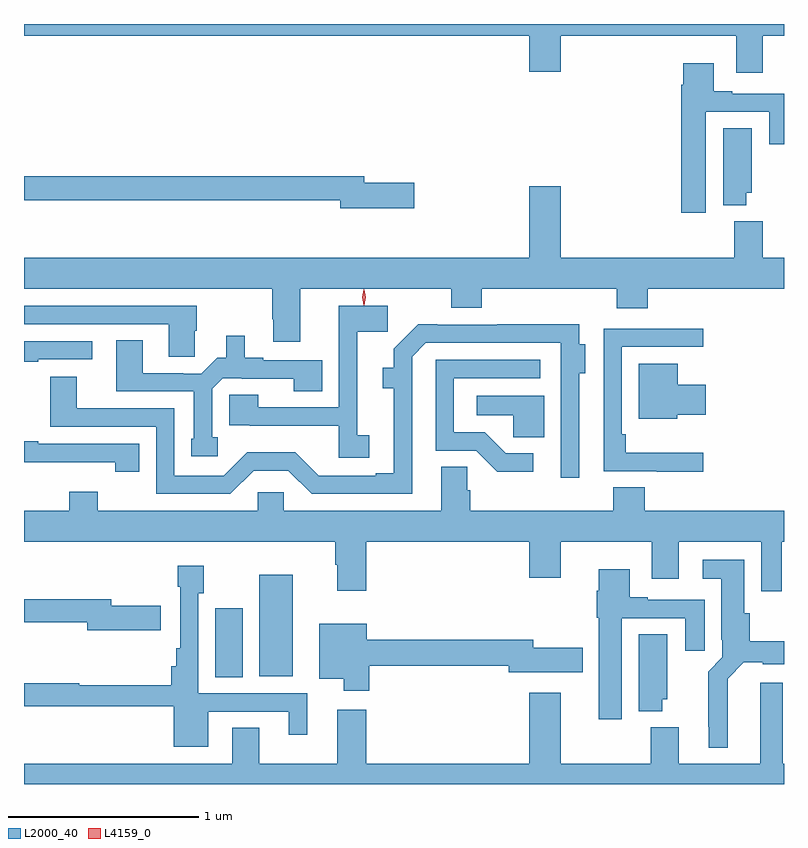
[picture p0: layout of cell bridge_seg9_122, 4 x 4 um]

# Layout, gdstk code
import gdstk
lib = gdstk.Library(unit=1e-6, precision=1e-09)
def R(c, l, rs):  # rectangles x0, y0, x1, y1
    for r in rs: c.add(gdstk.rectangle(r[:2], r[2:], *l))
def P(c, l, *ps):  # polygons
    for p in ps: c.add(gdstk.Polygon(p, *l))
L2000_40 = (2000, 40)
L4159_0 = (4159, 0)

bridge_seg9_122 = lib.new_cell('bridge_seg9_122')
R(bridge_seg9_122, L2000_40, [(522.995,1229.008,523.138,1229.371), (523.226,1229.012,523.402,1229.548)])
P(bridge_seg9_122, L2000_40, [(525.877,1232.384),(525.988,1232.384),(525.988,1232.446),(521.988,1232.446),(521.988,1232.384),(524.648,1232.384),(524.648,1232.196),(524.812,1232.196),(524.812,1232.384),(525.737,1232.384),(525.737,1232.19),(525.877,1232.19)],
  [(525.577,1231.983),(525.911,1231.983),(525.911,1231.812),(525.988,1231.812),(525.988,1232.079),(525.715,1232.079),(525.715,1232.092),(525.619,1232.092),(525.619,1232.239),(525.458,1232.239),(525.458,1232.126),(525.446,1232.126),(525.446,1231.452),(525.577,1231.452)],
  [(525.79,1231.557),(525.817,1231.557),(525.817,1231.898),(525.668,1231.898),(525.668,1231.493),(525.79,1231.493)],
  [(524.041,1231.61),(523.78,1231.61),(523.78,1231.646),(521.988,1231.646),(521.988,1231.518),(523.652,1231.518),(523.652,1231.475),(524.041,1231.475)],
  [(523.441,1231.052),(524.236,1231.052),(524.236,1230.953),(524.396,1230.953),(524.396,1231.052),(525.107,1231.052),(525.107,1230.95),(525.272,1230.95),(525.272,1231.052),(525.988,1231.052),(525.988,1231.216),(525.877,1231.216),(525.877,1231.408),(525.725,1231.408),(525.725,1231.216),(524.812,1231.216),(524.812,1231.591),(524.648,1231.591),(524.648,1231.216),(521.988,1231.216),(521.988,1231.052),(523.294,1231.052),(523.294,1230.892),(523.301,1230.892),(523.301,1230.774),(523.441,1230.774)],
  [(523.804,1230.282),(523.741,1230.282),(523.741,1230.825),(523.902,1230.825),(523.902,1230.964),(523.644,1230.964),(523.644,1230.429),(523.221,1230.429),(523.221,1230.494),(523.067,1230.494),(523.067,1230.333),(523.177,1230.333),(523.177,1230.332),(523.644,1230.332),(523.644,1230.162),(523.804,1230.162)],
  [(522.887,1230.831),(522.897,1230.831),(522.897,1230.963),(521.988,1230.963),(521.988,1230.867),(522.749,1230.867),(522.749,1230.694),(522.887,1230.694)],
  [(523.197,1230.096),(523.38,1230.096),(523.503,1229.973),(524.031,1229.973),(524.031,1230.696),(524.103,1230.768),(524.814,1230.768),(524.814,1230.057),(524.91,1230.057),(524.91,1230.608),(524.941,1230.608),(524.941,1230.76),(524.91,1230.76),(524.91,1230.866),(524.479,1230.866),(524.479,1230.864),(524.164,1230.864),(524.164,1230.866),(524.063,1230.866),(523.934,1230.736),(523.934,1230.638),(523.877,1230.638),(523.877,1230.528),(523.934,1230.528),(523.934,1230.082),(523.838,1230.082),(523.838,1230.069),(523.54,1230.069),(523.416,1230.193),(523.162,1230.193),(523.038,1230.069),(522.78,1230.069),(522.78,1230.423),(522.265,1230.423),(522.265,1230.589),(522.125,1230.589),(522.125,1230.327),(522.684,1230.327),(522.684,1229.973),(523.074,1229.973)],
  [(525.562,1230.19),(525.155,1230.19),(525.155,1230.286),(525.135,1230.286),(525.135,1230.747),(525.562,1230.747),(525.562,1230.843),(525.039,1230.843),(525.039,1230.093),(525.317,1230.093),(525.317,1230.089),(525.562,1230.089)],
  [(523.008,1230.27),(522.978,1230.27),(522.978,1230.525),(523.035,1230.582),(523.135,1230.582),(523.135,1230.579),(523.408,1230.579),(523.408,1230.514),(523.559,1230.514),(523.559,1230.675),(523.246,1230.675),(523.246,1230.69),(523.15,1230.69),(523.15,1230.805),(523.052,1230.805),(523.052,1230.69),(523.005,1230.69),(522.921,1230.606),(522.827,1230.606),(522.827,1230.609),(522.613,1230.609),(522.613,1230.782),(522.473,1230.782),(522.473,1230.513),(522.882,1230.513),(522.882,1230.264),(522.869,1230.264),(522.869,1230.171),(523.008,1230.171)],
  [(522.064,1230.681),(522.346,1230.681),(522.346,1230.777),(521.988,1230.777),(521.988,1230.669),(522.064,1230.669)],
  [(524.668,1230.186),(524.523,1230.186),(524.412,1230.297),(524.25,1230.297),(524.25,1230.582),(524.704,1230.582),(524.704,1230.678),(524.154,1230.678),(524.154,1230.201),(524.367,1230.201),(524.48,1230.089),(524.668,1230.089)],
  [(525.426,1230.389),(525.577,1230.389),(525.577,1230.547),(525.43,1230.547),(525.43,1230.658),(525.224,1230.658),(525.224,1230.368),(525.426,1230.368)],
  [(524.725,1230.49),(524.37,1230.49),(524.37,1230.386),(524.562,1230.386),(524.562,1230.272),(524.725,1230.272)],
  [(522.595,1230.237),(522.064,1230.237),(522.064,1230.25),(521.988,1230.25),(521.988,1230.14),(522.467,1230.14),(522.467,1230.09),(522.595,1230.09)],
  [(525.976,1229.72),(525.988,1229.72),(525.988,1229.884),(525.254,1229.884),(525.254,1230.008),(525.089,1230.008),(525.089,1229.884),(524.336,1229.884),(524.336,1229.993),(524.322,1229.993),(524.322,1230.116),(524.183,1230.116),(524.183,1229.884),(523.356,1229.884),(523.356,1229.982),(523.218,1229.982),(523.218,1229.884),(522.375,1229.884),(522.375,1229.983),(522.227,1229.983),(522.227,1229.884),(521.988,1229.884),(521.988,1229.72),(523.625,1229.72),(523.625,1229.6),(523.637,1229.6),(523.637,1229.463),(523.79,1229.463),(523.79,1229.72),(524.648,1229.72),(524.648,1229.532),(524.812,1229.532),(524.812,1229.72),(525.293,1229.72),(525.293,1229.526),(525.433,1229.526),(525.433,1229.72),(525.867,1229.72),(525.867,1229.46),(525.976,1229.46)],
  [(525.691,1229),(525.777,1229.087),(525.876,1229.087),(525.876,1229.075),(525.988,1229.075),(525.988,1229.197),(525.809,1229.197),(525.809,1229.346),(525.778,1229.346),(525.778,1229.626),(525.561,1229.626),(525.561,1229.525),(525.659,1229.525),(525.659,1229.206),(525.663,1229.206),(525.663,1229.112),(525.589,1229.038),(525.589,1228.747),(525.593,1228.747),(525.593,1228.637),(525.691,1228.637)],
  [(522.958,1228.827),(523.382,1228.827),(523.382,1228.704),(523.48,1228.704),(523.48,1228.923),(522.906,1228.923),(522.906,1229.451),(522.933,1229.451),(522.933,1229.596),(522.798,1229.596),(522.798,1229.483),(522.81,1229.483),(522.81,1229.161),(522.79,1229.161),(522.79,1229.065),(522.764,1229.065),(522.764,1228.967),(522.28,1228.967),(522.28,1228.975),(521.988,1228.975),(521.988,1228.854),(522.776,1228.854),(522.776,1228.643),(522.958,1228.643)],
  [(525.133,1229.319),(525.467,1229.319),(525.467,1229.148),(525.571,1229.148),(525.571,1229.415),(525.271,1229.415),(525.271,1229.428),(525.175,1229.428),(525.175,1229.575),(525.014,1229.575),(525.014,1229.462),(525.002,1229.462),(525.002,1229.322),(525.014,1229.322),(525.014,1228.788),(525.133,1228.788)],
  [(522.709,1229.385),(522.448,1229.385),(522.448,1229.419),(521.988,1229.419),(521.988,1229.298),(522.32,1229.298),(522.32,1229.255),(522.709,1229.255)],
  [(523.805,1229.068),(524.54,1229.068),(524.54,1229.033),(524.929,1229.033),(524.929,1229.163),(524.668,1229.163),(524.668,1229.204),(523.792,1229.204),(523.792,1229.29),(523.541,1229.29),(523.541,1229),(523.67,1229),(523.67,1228.938),(523.805,1228.938)],
  [(525.346,1228.893),(525.373,1228.893),(525.373,1229.234),(525.224,1229.234),(525.224,1228.829),(525.346,1228.829)],
  [(525.988,1228.552),(525.981,1228.552),(525.981,1228.978),(525.863,1228.978),(525.863,1228.552),(525.433,1228.552),(525.433,1228.744),(525.286,1228.744),(525.286,1228.552),(524.812,1228.552),(524.812,1228.927),(524.648,1228.927),(524.648,1228.552),(523.79,1228.552),(523.79,1228.837),(523.637,1228.837),(523.637,1228.552),(523.225,1228.552),(523.225,1228.742),(523.085,1228.742),(523.085,1228.552),(521.988,1228.552),(521.988,1228.446),(525.988,1228.446)])
P(bridge_seg9_122, L4159_0, [(523.777,1230.966),(523.767,1231.007),(523.777,1231.048),(523.777,1231.049),(523.778,1231.048),(523.787,1231.007),(523.778,1230.966),(523.778,1230.966)])

lib.write_gds('bridge_seg9_122.gds')
